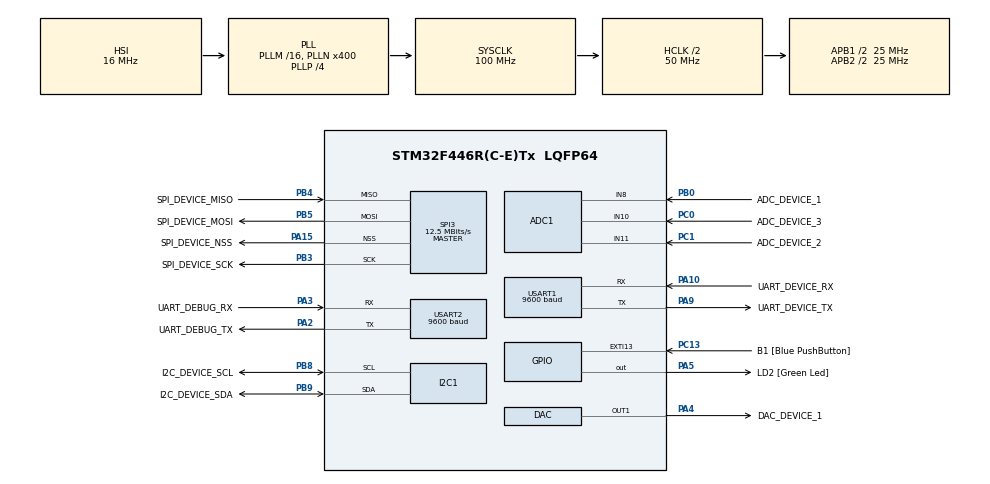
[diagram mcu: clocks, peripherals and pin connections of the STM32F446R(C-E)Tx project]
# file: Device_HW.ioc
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ADC1.Channel-0\#ChannelRegularConversion=ADC_CHANNEL_8
ADC1.NbrOfConversionFlag=1
ADC1.Rank-0\#ChannelRegularConversion=1
ADC1.SamplingTime-0\#ChannelRegularConversion=ADC_SAMPLETIME_3CYCLES
ADC1.master=1
DAC.DAC_Trigger=DAC_TRIGGER_T2_TRGO
DAC.WaveGeneration=DISABLE
Dma.ADC1.0.Direction=DMA_PERIPH_TO_MEMORY
Dma.ADC1.0.FIFOMode=DMA_FIFOMODE_ENABLE
Dma.ADC1.0.FIFOThreshold=DMA_FIFO_THRESHOLD_FULL
Dma.ADC1.0.Instance=DMA2_Stream0
Dma.ADC1.0.MemBurst=DMA_MBURST_SINGLE
Dma.ADC1.0.MemDataAlignment=DMA_MDATAALIGN_WORD
Dma.ADC1.0.MemInc=DMA_MINC_ENABLE
Dma.ADC1.0.Mode=DMA_CIRCULAR
Dma.ADC1.0.PeriphBurst=DMA_PBURST_SINGLE
Dma.ADC1.0.PeriphDataAlignment=DMA_PDATAALIGN_WORD
Dma.ADC1.0.PeriphInc=DMA_PINC_DISABLE
Dma.ADC1.0.Priority=DMA_PRIORITY_MEDIUM
Dma.MEMTOMEM.7.Direction=DMA_MEMORY_TO_MEMORY
Dma.MEMTOMEM.7.FIFOMode=DMA_FIFOMODE_ENABLE
Dma.MEMTOMEM.7.FIFOThreshold=DMA_FIFO_THRESHOLD_FULL
Dma.MEMTOMEM.7.Instance=DMA2_Stream1
Dma.MEMTOMEM.7.MemBurst=DMA_MBURST_SINGLE
Dma.MEMTOMEM.7.MemDataAlignment=DMA_MDATAALIGN_WORD
Dma.MEMTOMEM.7.MemInc=DMA_MINC_ENABLE
Dma.MEMTOMEM.7.Mode=DMA_NORMAL
Dma.MEMTOMEM.7.PeriphBurst=DMA_PBURST_SINGLE
Dma.MEMTOMEM.7.PeriphDataAlignment=DMA_PDATAALIGN_WORD
Dma.MEMTOMEM.7.PeriphInc=DMA_PINC_ENABLE
Dma.MEMTOMEM.7.Priority=DMA_PRIORITY_LOW
Dma.MEMTOMEM.8.Direction=DMA_MEMORY_TO_MEMORY
Dma.MEMTOMEM.8.FIFOMode=DMA_FIFOMODE_ENABLE
Dma.MEMTOMEM.8.FIFOThreshold=DMA_FIFO_THRESHOLD_FULL
Dma.MEMTOMEM.8.Instance=DMA2_Stream2
Dma.MEMTOMEM.8.MemBurst=DMA_MBURST_SINGLE
Dma.MEMTOMEM.8.MemDataAlignment=DMA_MDATAALIGN_WORD
Dma.MEMTOMEM.8.MemInc=DMA_MINC_ENABLE
Dma.MEMTOMEM.8.Mode=DMA_NORMAL
Dma.MEMTOMEM.8.PeriphBurst=DMA_PBURST_SINGLE
Dma.MEMTOMEM.8.PeriphDataAlignment=DMA_PDATAALIGN_WORD
Dma.MEMTOMEM.8.PeriphInc=DMA_PINC_ENABLE
Dma.MEMTOMEM.8.Priority=DMA_PRIORITY_LOW
Dma.MEMTOMEM.9.Direction=DMA_MEMORY_TO_MEMORY
Dma.MEMTOMEM.9.FIFOMode=DMA_FIFOMODE_ENABLE
Dma.MEMTOMEM.9.FIFOThreshold=DMA_FIFO_THRESHOLD_FULL
Dma.MEMTOMEM.9.Instance=DMA2_Stream3
Dma.MEMTOMEM.9.MemBurst=DMA_MBURST_SINGLE
Dma.MEMTOMEM.9.MemDataAlignment=DMA_MDATAALIGN_WORD
Dma.MEMTOMEM.9.MemInc=DMA_MINC_ENABLE
Dma.MEMTOMEM.9.Mode=DMA_NORMAL
Dma.MEMTOMEM.9.PeriphBurst=DMA_PBURST_SINGLE
Dma.MEMTOMEM.9.PeriphDataAlignment=DMA_PDATAALIGN_WORD
Dma.MEMTOMEM.9.PeriphInc=DMA_PINC_ENABLE
Dma.MEMTOMEM.9.Priority=DMA_PRIORITY_LOW
Dma.Request0=ADC1
Dma.Request1=SPI3_RX
Dma.Request2=SPI3_TX
Dma.Request3=USART1_RX
Dma.Request4=USART1_TX
Dma.Request5=USART2_RX
Dma.Request6=USART2_TX
Dma.Request7=MEMTOMEM
Dma.Request8=MEMTOMEM
Dma.Request9=MEMTOMEM
Dma.SPI3_RX.1.Direction=DMA_PERIPH_TO_MEMORY
Dma.SPI3_RX.1.FIFOMode=DMA_FIFOMODE_DISABLE
Dma.SPI3_RX.1.Instance=DMA1_Stream2
Dma.SPI3_RX.1.MemDataAlignment=DMA_MDATAALIGN_BYTE
Dma.SPI3_RX.1.MemInc=DMA_MINC_ENABLE
Dma.SPI3_RX.1.Mode=DMA_NORMAL
Dma.SPI3_RX.1.PeriphDataAlignment=DMA_PDATAALIGN_BYTE
Dma.SPI3_RX.1.PeriphInc=DMA_PINC_DISABLE
Dma.SPI3_RX.1.Priority=DMA_PRIORITY_MEDIUM
Dma.SPI3_TX.2.Direction=DMA_MEMORY_TO_PERIPH
Dma.SPI3_TX.2.FIFOMode=DMA_FIFOMODE_DISABLE
Dma.SPI3_TX.2.Instance=DMA1_Stream7
Dma.SPI3_TX.2.MemDataAlignment=DMA_MDATAALIGN_BYTE
Dma.SPI3_TX.2.MemInc=DMA_MINC_ENABLE
Dma.SPI3_TX.2.Mode=DMA_NORMAL
Dma.SPI3_TX.2.PeriphDataAlignment=DMA_PDATAALIGN_BYTE
Dma.SPI3_TX.2.PeriphInc=DMA_PINC_DISABLE
Dma.SPI3_TX.2.Priority=DMA_PRIORITY_MEDIUM
Dma.USART1_RX.3.Direction=DMA_PERIPH_TO_MEMORY
Dma.USART1_RX.3.FIFOMode=DMA_FIFOMODE_DISABLE
Dma.USART1_RX.3.Instance=DMA2_Stream5
Dma.USART1_RX.3.MemDataAlignment=DMA_MDATAALIGN_BYTE
Dma.USART1_RX.3.MemInc=DMA_MINC_ENABLE
Dma.USART1_RX.3.Mode=DMA_NORMAL
Dma.USART1_RX.3.PeriphDataAlignment=DMA_PDATAALIGN_BYTE
Dma.USART1_RX.3.PeriphInc=DMA_PINC_DISABLE
Dma.USART1_RX.3.Priority=DMA_PRIORITY_MEDIUM
Dma.USART1_TX.4.Direction=DMA_MEMORY_TO_PERIPH
Dma.USART1_TX.4.FIFOMode=DMA_FIFOMODE_DISABLE
Dma.USART1_TX.4.Instance=DMA2_Stream7
Dma.USART1_TX.4.MemDataAlignment=DMA_MDATAALIGN_BYTE
Dma.USART1_TX.4.MemInc=DMA_MINC_ENABLE
Dma.USART1_TX.4.Mode=DMA_NORMAL
Dma.USART1_TX.4.PeriphDataAlignment=DMA_PDATAALIGN_BYTE
Dma.USART1_TX.4.PeriphInc=DMA_PINC_DISABLE
Dma.USART1_TX.4.Priority=DMA_PRIORITY_MEDIUM
Dma.USART2_RX.5.Direction=DMA_PERIPH_TO_MEMORY
Dma.USART2_RX.5.FIFOMode=DMA_FIFOMODE_DISABLE
Dma.USART2_RX.5.Instance=DMA1_Stream5
Dma.USART2_RX.5.MemDataAlignment=DMA_MDATAALIGN_BYTE
Dma.USART2_RX.5.MemInc=DMA_MINC_ENABLE
Dma.USART2_RX.5.Mode=DMA_NORMAL
Dma.USART2_RX.5.PeriphDataAlignment=DMA_PDATAALIGN_BYTE
Dma.USART2_RX.5.PeriphInc=DMA_PINC_DISABLE
Dma.USART2_RX.5.Priority=DMA_PRIORITY_MEDIUM
Dma.USART2_TX.6.Direction=DMA_MEMORY_TO_PERIPH
Dma.USART2_TX.6.FIFOMode=DMA_FIFOMODE_DISABLE
Dma.USART2_TX.6.Instance=DMA1_Stream6
Dma.USART2_TX.6.MemDataAlignment=DMA_MDATAALIGN_BYTE
Dma.USART2_TX.6.MemInc=DMA_MINC_ENABLE
Dma.USART2_TX.6.Mode=DMA_NORMAL
Dma.USART2_TX.6.PeriphDataAlignment=DMA_PDATAALIGN_BYTE
Dma.USART2_TX.6.PeriphInc=DMA_PINC_DISABLE
Dma.USART2_TX.6.Priority=DMA_PRIORITY_MEDIUM
FREERTOS.BinarySemaphores01=varSemaphoreB,Static,varSemaphoreBControlBlock;varSemaphoreB1,Static,varSemaphoreB1ControlBlock;varSemaphoreB2,Static,varSemaphoreB2ControlBlock;varSemaphoreB3,Static,varSemaphoreB3ControlBlock;varSemaphoreB4,Static,varSemaphoreB4ControlBlock
FREERTOS.CountingSemaphores01=varSemaphoreC,2,Static,varSemaphoreCControlBlock;varSemaphoreC1,2,Static,varSemaphoreC1ControlBlock;varSemaphoreC2,2,Static,varSemaphoreC2ControlBlock;varSemaphoreC3,2,Static,varSemaphoreC3ControlBlock;varSemaphoreC4,2,Static,varSemaphoreC4ControlBlock
FREERTOS.INCLUDE_xTaskAbortDelay=1
FREERTOS.Mutexes01=varMutex,Static,varMutexControlBlock;varMutex1,Static,varMutex1ControlBlock;varMutex2,Static,varMutex2ControlBlock;varMutex4,Static,varMutex4ControlBlock
FREERTOS.Tasks01=osTask,24,128,osTaskEntry,Default,NULL,Static,osTaskBuffer,osTaskControlBlock;deviceTask,24,128,deviceTaskEntry,Default,NULL,Static,deviceTaskBuffer,deviceTaskControlBlock;debugTask,8,128,debugTaskEntry,Default,NULL,Static,debugTaskBuffer,debugTaskControlBlock
FREERTOS.Timers01=varTimer,varTimerCallback,osTimerPeriodic,Default,NULL,Static,varTimerControlBlock;varTimer1,varTimer2Callback,osTimerPeriodic,Default,NULL,Static,varTimer1ControlBlock
FREERTOS.configGENERATE_RUN_TIME_STATS=1
FREERTOS.configUSE_NEWLIB_REENTRANT=1
FREERTOS.configUSE_STATS_FORMATTING_FUNCTIONS=1
Mcu.Family=STM32F4
Mcu.Name=STM32F446R(C-E)Tx
Mcu.Package=LQFP64
Mcu.UserConstants=UART_DEVICE,1;UART_DEBUG,2
NVIC.ADC_IRQn=true\:5\:0\:false\:false\:true\:true\:true\:true
NVIC.DMA1_Stream2_IRQn=true\:5\:0\:false\:false\:true\:true\:false\:true
NVIC.DMA1_Stream5_IRQn=true\:5\:0\:false\:false\:true\:true\:false\:true
NVIC.DMA1_Stream6_IRQn=true\:5\:0\:false\:false\:true\:true\:false\:true
NVIC.DMA1_Stream7_IRQn=true\:5\:0\:false\:false\:true\:true\:false\:true
NVIC.DMA2_Stream0_IRQn=true\:5\:0\:false\:false\:true\:true\:false\:true
NVIC.DMA2_Stream5_IRQn=true\:5\:0\:false\:false\:true\:false\:false\:true
NVIC.DMA2_Stream7_IRQn=true\:5\:0\:false\:false\:true\:true\:false\:true
NVIC.EXTI15_10_IRQn=true\:5\:0\:false\:false\:true\:true\:true\:true
NVIC.I2C1_ER_IRQn=true\:5\:0\:false\:false\:true\:true\:true\:true
NVIC.I2C1_EV_IRQn=true\:5\:0\:false\:false\:true\:true\:true\:true
NVIC.PriorityGroup=NVIC_PRIORITYGROUP_4
NVIC.SPI3_IRQn=true\:5\:0\:false\:false\:true\:true\:true\:true
NVIC.TIM1_UP_TIM10_IRQn=true\:5\:0\:false\:false\:true\:true\:true\:true
NVIC.TIM2_IRQn=true\:15\:0\:false\:false\:true\:false\:true\:true
NVIC.TIM6_DAC_IRQn=true\:5\:0\:false\:false\:true\:true\:true\:true
NVIC.TimeBase=TIM2_IRQn
NVIC.TimeBaseIP=TIM2
NVIC.USART1_IRQn=true\:5\:0\:false\:false\:true\:true\:true\:true
NVIC.USART2_IRQn=true\:5\:0\:false\:false\:true\:true\:true\:true
PA10.GPIO_Label=UART_DEVICE_RX
PA10.Mode=Asynchronous
PA10.Signal=USART1_RX
PA13.GPIO_Label=TMS
PA13.Mode=Serial_Wire
PA13.Signal=SYS_JTMS-SWDIO
PA14.GPIO_Label=TCK
PA14.Mode=Serial_Wire
PA14.Signal=SYS_JTCK-SWCLK
PA15.GPIO_Label=SPI_DEVICE_NSS
PA15.Mode=NSS_Signal_Hard_Output
PA15.Signal=SPI3_NSS
PA2.GPIO_Label=UART_DEBUG_TX
PA2.Mode=Asynchronous
PA2.Signal=USART2_TX
PA3.GPIO_Label=UART_DEBUG_RX
PA3.Mode=Asynchronous
PA3.Signal=USART2_RX
PA4.GPIO_Label=DAC_DEVICE_1
PA4.Signal=COMP_DAC1_group
PA5.GPIO_Label=LD2 [Green Led]
PA5.Signal=GPIO_Output
PA9.GPIO_Label=UART_DEVICE_TX
PA9.Mode=Asynchronous
PA9.Signal=USART1_TX
PB0.GPIO_Label=ADC_DEVICE_1
PB0.Signal=ADCx_IN8
PB3.GPIO_Label=SPI_DEVICE_SCK
PB3.Mode=Full_Duplex_Master
PB3.Signal=SPI3_SCK
PB4.GPIO_Label=SPI_DEVICE_MISO
PB4.Mode=Full_Duplex_Master
PB4.Signal=SPI3_MISO
PB5.GPIO_Label=SPI_DEVICE_MOSI
PB5.Mode=Full_Duplex_Master
PB5.Signal=SPI3_MOSI
PB8.GPIO_Label=I2C_DEVICE_SCL
PB8.Mode=I2C
PB8.Signal=I2C1_SCL
PB9.GPIO_Label=I2C_DEVICE_SDA
PB9.Mode=I2C
PB9.Signal=I2C1_SDA
PC0.GPIO_Label=ADC_DEVICE_3
PC0.Signal=ADCx_IN10
PC1.GPIO_Label=ADC_DEVICE_2
PC1.Signal=ADCx_IN11
PC13.GPIO_Label=B1 [Blue PushButton]
PC13.GPIO_ModeDefaultEXTI=GPIO_MODE_IT_FALLING
PC13.Signal=GPXTI13
PC14-OSC32_IN.Mode=LSE-External-Oscillator
PC14-OSC32_IN.Signal=RCC_OSC32_IN
PC15-OSC32_OUT.Mode=LSE-External-Oscillator
PC15-OSC32_OUT.Signal=RCC_OSC32_OUT
PH0-OSC_IN.Mode=HSE-External-Oscillator
PH0-OSC_IN.Signal=RCC_OSC_IN
PH1-OSC_OUT.Mode=HSE-External-Oscillator
PH1-OSC_OUT.Signal=RCC_OSC_OUT
ProjectManager.HeapSize=0x200
ProjectManager.StackSize=0x400
ProjectManager.TargetToolchain=STM32CubeIDE
RCC.48MHZClocksFreq_Value=84000000
RCC.AHBCLKDivider=RCC_SYSCLK_DIV2
RCC.AHBFreq_Value=50000000
RCC.APB1CLKDivider=RCC_HCLK_DIV2
RCC.APB1Freq_Value=25000000
RCC.APB1TimFreq_Value=50000000
RCC.APB2CLKDivider=RCC_HCLK_DIV2
RCC.APB2Freq_Value=25000000
RCC.APB2TimFreq_Value=50000000
RCC.CortexFreq_Value=50000000
RCC.FLatency-AdvancedSettings=FLASH_LATENCY_1
RCC.HCLKFreq_Value=50000000
RCC.HSE_VALUE=8000000
RCC.HSI_VALUE=16000000
RCC.PLLN=400
RCC.PLLP=RCC_PLLP_DIV4
RCC.SYSCLKFreq_VALUE=100000000
RCC.SYSCLKSource=RCC_SYSCLKSOURCE_PLLCLK
RCC.USBFreq_Value=200000000
RCC.VCOOutputFreq_Value=400000000
SH.ADCx_IN10.0=ADC1_IN10,IN10
SH.ADCx_IN11.0=ADC1_IN11,IN11
SH.ADCx_IN8.0=ADC1_IN8,IN8
SH.COMP_DAC1_group.0=DAC_OUT1,DAC_OUT1
SPI3.BaudRatePrescaler=SPI_BAUDRATEPRESCALER_2
SPI3.CalculateBaudRate=12.5 MBits/s
SPI3.Direction=SPI_DIRECTION_2LINES
SPI3.Mode=SPI_MODE_MASTER
SPI3.VirtualNSS=VM_NSSHARD
SPI3.VirtualType=VM_MASTER
TIM1.AutoReloadPreload=TIM_AUTORELOAD_PRELOAD_ENABLE
TIM1.Period=24
TIM1.Prescaler=3
TIM6.AutoReloadPreload=TIM_AUTORELOAD_PRELOAD_ENABLE
TIM6.Period=19
TIM6.Prescaler=4999
USART1.BaudRate=9600
USART1.OverSampling=UART_OVERSAMPLING_8
USART1.VirtualMode=VM_ASYNC
USART2.BaudRate=9600
USART2.OverSampling=UART_OVERSAMPLING_8
USART2.VirtualMode=VM_ASYNC
VP_CRC_VS_CRC.Mode=CRC_Activate
VP_FREERTOS_VS_CMSIS_V2.Mode=CMSIS_V2
VP_SYS_VS_tim2.Mode=TIM2
VP_TIM1_VS_ClockSourceINT.Mode=Internal
VP_TIM1_VS_ClockSourceITR.Mode=TriggerSource_ITR0
VP_TIM1_VS_ControllerModeReset.Mode=Reset Mode
VP_TIM6_VS_ClockSourceINT.Mode=Enable_Timer
board=NUCLEO-F446RE

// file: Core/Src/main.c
/* USER CODE BEGIN Header */
/**
  ******************************************************************************
  * @file           : main.c
  * @brief          : Main program body
  ******************************************************************************
  * @attention
  *
  * <h2><center>&copy; Copyright (c) 2022 STMicroelectronics.
  * All rights reserved.</center></h2>
  *
  * This software component is licensed by ST under Ultimate Liberty license
  * SLA0044, the "License"; You may not use this file except in compliance with
  * the License. You may obtain a copy of the License at:
  *                             www.st.com/SLA0044
  *
  ******************************************************************************
  */
/* USER CODE END Header */
#include "main.h"
#include "cmsis_os.h"
#include "adc.h"
#include "crc.h"
#include "dac.h"
#include "dma.h"
#include "i2c.h"
#include "spi.h"
#include "tim.h"
#include "usart.h"
#include "gpio.h"

void SystemClock_Config(void);
void MX_FREERTOS_Init(void);

int main(void)
{

  /* MCU Configuration--------------------------------------------------------*/

  /* Reset of all peripherals, Initializes the Flash interface and the Systick. */
  HAL_Init();

  /* Configure the system clock */
  SystemClock_Config();

  /* Initialize all configured peripherals */
  MX_DMA_Init();
  MX_GPIO_Init();
  MX_I2C1_Init();
  MX_SPI3_Init();
  MX_TIM1_Init();
  MX_USART1_UART_Init();

  MX_ADC1_Init();
  MX_DAC_Init();
  MX_TIM6_Init();
  MX_USART2_UART_Init();
  MX_CRC_Init();

  /* Init scheduler */
  osKernelInitialize();  /* Call init function for freertos objects (in freertos.c) */
  MX_FREERTOS_Init();
  /* Start scheduler */
  osKernelStart();

  /* We should never get here as control is now taken by the scheduler */
  /* Infinite loop */
  while (1)
  {

  }
}

void SystemClock_Config(void)
{
  RCC_OscInitTypeDef RCC_OscInitStruct = {0};
  RCC_ClkInitTypeDef RCC_ClkInitStruct = {0};

  /** Configure the main internal regulator output voltage
  */
  __HAL_RCC_PWR_CLK_ENABLE();
  __HAL_PWR_VOLTAGESCALING_CONFIG(PWR_REGULATOR_VOLTAGE_SCALE3);
  /** Initializes the RCC Oscillators according to the specified parameters
  * in the RCC_OscInitTypeDef structure.
  */
  RCC_OscInitStruct.OscillatorType = RCC_OSCILLATORTYPE_HSI;
  RCC_OscInitStruct.HSIState = RCC_HSI_ON;
  RCC_OscInitStruct.HSICalibrationValue = RCC_HSICALIBRATION_DEFAULT;
  RCC_OscInitStruct.PLL.PLLState = RCC_PLL_ON;
  RCC_OscInitStruct.PLL.PLLSource = RCC_PLLSOURCE_HSI;
  RCC_OscInitStruct.PLL.PLLM = 16;
  RCC_OscInitStruct.PLL.PLLN = 400;
  RCC_OscInitStruct.PLL.PLLP = RCC_PLLP_DIV4;
  RCC_OscInitStruct.PLL.PLLQ = 2;
  RCC_OscInitStruct.PLL.PLLR = 2;
  if (HAL_RCC_OscConfig(&RCC_OscInitStruct) != HAL_OK)
  {
    Error_Handler();
  }
  /** Initializes the CPU, AHB and APB buses clocks
  */
  RCC_ClkInitStruct.ClockType = RCC_CLOCKTYPE_HCLK|RCC_CLOCKTYPE_SYSCLK
                              |RCC_CLOCKTYPE_PCLK1|RCC_CLOCKTYPE_PCLK2;
  RCC_ClkInitStruct.SYSCLKSource = RCC_SYSCLKSOURCE_PLLCLK;
  RCC_ClkInitStruct.AHBCLKDivider = RCC_SYSCLK_DIV2;
  RCC_ClkInitStruct.APB1CLKDivider = RCC_HCLK_DIV2;
  RCC_ClkInitStruct.APB2CLKDivider = RCC_HCLK_DIV2;

  if (HAL_RCC_ClockConfig(&RCC_ClkInitStruct, FLASH_LATENCY_1) != HAL_OK)
  {
    Error_Handler();
  }
}

void HAL_TIM_PeriodElapsedCallback(TIM_HandleTypeDef *htim)
{
  if (htim->Instance == TIM2) {
    HAL_IncTick();
  }
}

void Error_Handler(void)
{
  __disable_irq();
  while (1)
  {
  }
}

/************************ (C) COPYRIGHT STMicroelectronics *****END OF FILE****/

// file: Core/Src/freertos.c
/* USER CODE BEGIN Header */
/**
 ******************************************************************************
 * File Name          : freertos.c
 * Description        : Code for freertos applications
 ******************************************************************************
 * @attention
 *
 * <h2><center>&copy; Copyright (c) 2022 STMicroelectronics.
 * All rights reserved.</center></h2>
 *
 * This software component is licensed by ST under Ultimate Liberty license
 * SLA0044, the "License"; You may not use this file except in compliance with
 * the License. You may obtain a copy of the License at:
 *                             www.st.com/SLA0044
 *
 ******************************************************************************
 */
/* USER CODE END Header */

#include "main.h"
/* USER CODE BEGIN Includes */
#include "Configuration.h"
/* USER CODE END Includes */

typedef StaticTask_t      osStaticThreadDef_t;
typedef StaticTimer_t     osStaticTimerDef_t;
typedef StaticSemaphore_t osStaticMutexDef_t;
typedef StaticSemaphore_t osStaticSemaphoreDef_t;
/* USER CODE BEGIN PTD */
DEV_PERIPHERAL_TYPEDEFS(EXTERNAL);
/* USER CODE END PTD */

/* USER CODE BEGIN Variables */
/** debug messages **/
uint8_t DBG_initCompleteMessage[] = "Device is running...\n\r";
uint8_t DBG_clearScreenMessage[]  = { '\r', 0x1B, 0x5B, 0x32, 0x4A };

DEV_DECLARE_ARRAYS(LOCAL);

/* USER CODE END Variables */
/* Definitions for osTask */
osThreadId_t         osTaskHandle;
uint32_t             osTaskBuffer[128];
osStaticThreadDef_t  osTaskControlBlock;
const osThreadAttr_t osTask_attributes = {
  .name       = "osTask",
  .cb_mem     = &osTaskControlBlock,
  .cb_size    = sizeof(osTaskControlBlock),
  .stack_mem  = &osTaskBuffer[0],
  .stack_size = sizeof(osTaskBuffer),
  .priority   = (osPriority_t) osPriorityNormal,
};
/* Definitions for deviceTask */
osThreadId_t         deviceTaskHandle;
uint32_t             deviceTaskBuffer[128];
osStaticThreadDef_t  deviceTaskControlBlock;
const osThreadAttr_t deviceTask_attributes = {
  .name       = "deviceTask",
  .cb_mem     = &deviceTaskControlBlock,
  .cb_size    = sizeof(deviceTaskControlBlock),
  .stack_mem  = &deviceTaskBuffer[0],
  .stack_size = sizeof(deviceTaskBuffer),
  .priority   = (osPriority_t) osPriorityNormal,
};
/* Definitions for debugTask */
osThreadId_t         debugTaskHandle;
uint32_t             debugTaskBuffer[128];
osStaticThreadDef_t  debugTaskControlBlock;
const osThreadAttr_t debugTask_attributes = {
  .name       = "debugTask",
  .cb_mem     = &debugTaskControlBlock,
  .cb_size    = sizeof(debugTaskControlBlock),
  .stack_mem  = &debugTaskBuffer[0],
  .stack_size = sizeof(debugTaskBuffer),
  .priority   = (osPriority_t) osPriorityLow,
};
/* Definitions for varTimer */
osTimerId_t         varTimerHandle;
osStaticTimerDef_t  varTimerControlBlock;
const osTimerAttr_t varTimer_attributes = {
  .name    = "varTimer",
  .cb_mem  = &varTimerControlBlock,
  .cb_size = sizeof(varTimerControlBlock),
};
/* Definitions for varTimer1 */
osTimerId_t         varTimer1Handle;
osStaticTimerDef_t  varTimer1ControlBlock;
const osTimerAttr_t varTimer1_attributes = {
  .name    = "varTimer1",
  .cb_mem  = &varTimer1ControlBlock,
  .cb_size = sizeof(varTimer1ControlBlock),
};
/* Definitions for varMutex */
osMutexId_t         varMutexHandle;
osStaticMutexDef_t  varMutexControlBlock;
const osMutexAttr_t varMutex_attributes = {
  .name    = "varMutex",
  .cb_mem  = &varMutexControlBlock,
  .cb_size = sizeof(varMutexControlBlock),
};
/* Definitions for varMutex1 */
osMutexId_t         varMutex1Handle;
osStaticMutexDef_t  varMutex1ControlBlock;
const osMutexAttr_t varMutex1_attributes = {
  .name    = "varMutex1",
  .cb_mem  = &varMutex1ControlBlock,
  .cb_size = sizeof(varMutex1ControlBlock),
};
/* Definitions for varMutex2 */
osMutexId_t         varMutex2Handle;
osStaticMutexDef_t  varMutex2ControlBlock;
const osMutexAttr_t varMutex2_attributes = {
  .name    = "varMutex2",
  .cb_mem  = &varMutex2ControlBlock,
  .cb_size = sizeof(varMutex2ControlBlock),
};
/* Definitions for varMutex4 */
osMutexId_t         varMutex4Handle;
osStaticMutexDef_t  varMutex4ControlBlock;
const osMutexAttr_t varMutex4_attributes = {
  .name    = "varMutex4",
  .cb_mem  = &varMutex4ControlBlock,
  .cb_size = sizeof(varMutex4ControlBlock),
};
/* Definitions for varSemaphoreB */
osSemaphoreId_t         varSemaphoreBHandle;
osStaticSemaphoreDef_t  varSemaphoreBControlBlock;
const osSemaphoreAttr_t varSemaphoreB_attributes = {
  .name    = "varSemaphoreB",
  .cb_mem  = &varSemaphoreBControlBlock,
  .cb_size = sizeof(varSemaphoreBControlBlock),
};
/* Definitions for varSemaphoreB1 */
osSemaphoreId_t         varSemaphoreB1Handle;
osStaticSemaphoreDef_t  varSemaphoreB1ControlBlock;
const osSemaphoreAttr_t varSemaphoreB1_attributes = {
  .name    = "varSemaphoreB1",
  .cb_mem  = &varSemaphoreB1ControlBlock,
  .cb_size = sizeof(varSemaphoreB1ControlBlock),
};
/* Definitions for varSemaphoreB2 */
osSemaphoreId_t         varSemaphoreB2Handle;
osStaticSemaphoreDef_t  varSemaphoreB2ControlBlock;
const osSemaphoreAttr_t varSemaphoreB2_attributes = {
  .name    = "varSemaphoreB2",
  .cb_mem  = &varSemaphoreB2ControlBlock,
  .cb_size = sizeof(varSemaphoreB2ControlBlock),
};
/* Definitions for varSemaphoreB3 */
osSemaphoreId_t         varSemaphoreB3Handle;
osStaticSemaphoreDef_t  varSemaphoreB3ControlBlock;
const osSemaphoreAttr_t varSemaphoreB3_attributes = {
  .name    = "varSemaphoreB3",
  .cb_mem  = &varSemaphoreB3ControlBlock,
  .cb_size = sizeof(varSemaphoreB3ControlBlock),
};
/* Definitions for varSemaphoreB4 */
osSemaphoreId_t         varSemaphoreB4Handle;
osStaticSemaphoreDef_t  varSemaphoreB4ControlBlock;
const osSemaphoreAttr_t varSemaphoreB4_attributes = {
  .name    = "varSemaphoreB4",
  .cb_mem  = &varSemaphoreB4ControlBlock,
  .cb_size = sizeof(varSemaphoreB4ControlBlock),
};
/* Definitions for varSemaphoreC */
osSemaphoreId_t         varSemaphoreCHandle;
osStaticSemaphoreDef_t  varSemaphoreCControlBlock;
const osSemaphoreAttr_t varSemaphoreC_attributes = {
  .name    = "varSemaphoreC",
  .cb_mem  = &varSemaphoreCControlBlock,
  .cb_size = sizeof(varSemaphoreCControlBlock),
};
/* Definitions for varSemaphoreC1 */
osSemaphoreId_t         varSemaphoreC1Handle;
osStaticSemaphoreDef_t  varSemaphoreC1ControlBlock;
const osSemaphoreAttr_t varSemaphoreC1_attributes = {
  .name    = "varSemaphoreC1",
  .cb_mem  = &varSemaphoreC1ControlBlock,
  .cb_size = sizeof(varSemaphoreC1ControlBlock),
};
/* Definitions for varSemaphoreC2 */
osSemaphoreId_t         varSemaphoreC2Handle;
osStaticSemaphoreDef_t  varSemaphoreC2ControlBlock;
const osSemaphoreAttr_t varSemaphoreC2_attributes = {
  .name    = "varSemaphoreC2",
  .cb_mem  = &varSemaphoreC2ControlBlock,
  .cb_size = sizeof(varSemaphoreC2ControlBlock),
};
/* Definitions for varSemaphoreC3 */
osSemaphoreId_t         varSemaphoreC3Handle;
osStaticSemaphoreDef_t  varSemaphoreC3ControlBlock;
const osSemaphoreAttr_t varSemaphoreC3_attributes = {
  .name    = "varSemaphoreC3",
  .cb_mem  = &varSemaphoreC3ControlBlock,
  .cb_size = sizeof(varSemaphoreC3ControlBlock),
};
/* Definitions for varSemaphoreC4 */
osSemaphoreId_t         varSemaphoreC4Handle;
osStaticSemaphoreDef_t  varSemaphoreC4ControlBlock;
const osSemaphoreAttr_t varSemaphoreC4_attributes = {
  .name    = "varSemaphoreC4",
  .cb_mem  = &varSemaphoreC4ControlBlock,
  .cb_size = sizeof(varSemaphoreC4ControlBlock),
};

void osTaskEntry(void *argument);
void deviceTaskEntry(void *argument);
void debugTaskEntry(void *argument);
void varTimerCallback(void *argument);
void varTimer2Callback(void *argument);

void MX_FREERTOS_Init(void); /* (MISRA C 2004 rule 8.1) */

/* Hook prototypes */
void          configureTimerForRunTimeStats(void);
unsigned long getRunTimeCounterValue(void);

/* USER CODE BEGIN 1 */
/* Functions needed when configGENERATE_RUN_TIME_STATS is on */
__weak void configureTimerForRunTimeStats(void)
{
}

__weak unsigned long getRunTimeCounterValue(void)
{
  return 0;
}
/* USER CODE END 1 */

void MX_FREERTOS_Init(void)
{
  /* Create the mutex(es) */
  /* creation of varMutex */
  varMutexHandle = osMutexNew(&varMutex_attributes);

  /* creation of varMutex1 */
  varMutex1Handle = osMutexNew(&varMutex1_attributes);

  /* creation of varMutex2 */
  varMutex2Handle = osMutexNew(&varMutex2_attributes);

  /* creation of varMutex4 */
  varMutex4Handle = osMutexNew(&varMutex4_attributes);

  /* Create the semaphores(s) */
  /* creation of varSemaphoreB */
  varSemaphoreBHandle = osSemaphoreNew(1, 1, &varSemaphoreB_attributes);

  /* creation of varSemaphoreB1 */
  varSemaphoreB1Handle = osSemaphoreNew(1, 1, &varSemaphoreB1_attributes);

  /* creation of varSemaphoreB2 */
  varSemaphoreB2Handle = osSemaphoreNew(1, 1, &varSemaphoreB2_attributes);

  /* creation of varSemaphoreB3 */
  varSemaphoreB3Handle = osSemaphoreNew(1, 1, &varSemaphoreB3_attributes);

  /* creation of varSemaphoreB4 */
  varSemaphoreB4Handle = osSemaphoreNew(1, 1, &varSemaphoreB4_attributes);

  /* creation of varSemaphoreC */
  varSemaphoreCHandle = osSemaphoreNew(2, 2, &varSemaphoreC_attributes);

  /* creation of varSemaphoreC1 */
  varSemaphoreC1Handle = osSemaphoreNew(2, 2, &varSemaphoreC1_attributes);

  /* creation of varSemaphoreC2 */
  varSemaphoreC2Handle = osSemaphoreNew(2, 2, &varSemaphoreC2_attributes);

  /* creation of varSemaphoreC3 */
  varSemaphoreC3Handle = osSemaphoreNew(2, 2, &varSemaphoreC3_attributes);

  /* creation of varSemaphoreC4 */
  varSemaphoreC4Handle = osSemaphoreNew(2, 2, &varSemaphoreC4_attributes);

  /* Create the timer(s) */
  /* creation of varTimer */
  varTimerHandle = osTimerNew(varTimerCallback, osTimerPeriodic, NULL, &varTimer_attributes);

  /* creation of varTimer1 */
  varTimer1Handle = osTimerNew(varTimer2Callback, osTimerPeriodic, NULL, &varTimer1_attributes);

  /* Create the thread(s) */
  /* creation of osTask */
  osTaskHandle = osThreadNew(osTaskEntry, NULL, &osTask_attributes);

  /* creation of deviceTask */
  deviceTaskHandle = osThreadNew(deviceTaskEntry, NULL, &deviceTask_attributes);

  /* creation of debugTask */
  debugTaskHandle = osThreadNew(debugTaskEntry, NULL, &debugTask_attributes);

}

void osTaskEntry(void *argument)
{
  for (;;)
  {
    osDelay(1);
  }
}

void deviceTaskEntry(void *argument)
{
  /* USER CODE BEGIN deviceTaskEntry */
  uint32_t notificationBits;
  deviceGps.rxId = 0;
  __HAL_DMA_ENABLE_IT(&DEV_HANDLE_GPS_DMA_RX, DMA_IT_TC);
  __HAL_UART_ENABLE_IT(&DEV_HANDLE_GPS, UART_IT_IDLE);
  HAL_UART_Receive_DMA(&DEV_HANDLE_GPS, deviceGps.rxArray[deviceGps.rxId], DEV_DEFINE_BUFFER_SIZE);
  deviceDebug.rxId = 0;
  __HAL_DMA_ENABLE_IT(&DEV_HANDLE_DEBUG_DMA_RX, DMA_IT_TC);
  __HAL_UART_ENABLE_IT(&DEV_HANDLE_DEBUG, UART_IT_IDLE);
  HAL_UART_Receive_DMA(&DEV_HANDLE_DEBUG, deviceDebug.rxArray[deviceDebug.rxId], DEV_DEFINE_BUFFER_SIZE);
  /* Infinite loop */
  for (;;)
  {
    xTaskNotifyWait(NO_BITS, ALL_BITS, &notificationBits, portMAX_DELAY);
    // Received from GPS transfer to debug.
    if (notificationBits & (1 << 0))
    {
      memcpy(deviceDebug.txArray[deviceDebug.txId], deviceGps.rxArray[deviceGps.rxId], deviceGps.rxCount[deviceGps.rxId]);
      deviceDebug.txCount[deviceDebug.txId] = deviceGps.rxCount[deviceGps.rxId];
      deviceGps.rxId                        = (deviceGps.rxId + 1) % DEV_DEFINE_NO_BUFFERS;
    }
    // Received from debug transfer to GPS.
    if (notificationBits & (1 << 1))
    {
      memcpy(deviceGps.txArray[deviceGps.txId], deviceDebug.rxArray[deviceDebug.rxId], deviceDebug.rxCount[deviceDebug.rxId]);
      deviceGps.txCount[deviceGps.txId] = deviceDebug.rxCount[deviceDebug.rxId];
      deviceDebug.rxId                  = (deviceDebug.rxId + 1) % DEV_DEFINE_NO_BUFFERS;
    }
    xTaskNotify(debugTaskHandle, notificationBits, eSetBits);
  }
  /* USER CODE END deviceTaskEntry */
}

void debugTaskEntry(void *argument)
{
  /* USER CODE BEGIN debugTaskEntry */
  uint32_t notificationBits;
  deviceDebug.txId = 0;
  HAL_UART_Transmit(&huart2, DBG_initCompleteMessage, sizeof(DBG_initCompleteMessage), 500);
  /* Infinite loop */
  for (;;)
  {
    xTaskNotifyWait(0x00, UINT32_MAX, &notificationBits, portMAX_DELAY);

    // Received from GPS transfer to debug.
    if (notificationBits & (1 << 0))
    {
      if ((deviceDebug.txCount[deviceDebug.txId] != 0) && (deviceDebug.txArray[deviceDebug.txId][0] != 0))
      {
        HAL_UART_Transmit(&DEV_HANDLE_DEBUG, DBG_clearScreenMessage, sizeof(DBG_clearScreenMessage), 500);
        HAL_UART_Transmit_DMA(&DEV_HANDLE_DEBUG, deviceDebug.txArray[deviceDebug.txId], deviceDebug.txCount[deviceDebug.txId]);
        deviceDebug.txId = (deviceDebug.txId + 1) % DEV_DEFINE_NO_BUFFERS;
      }
    }
    // Received from debug transfer to GPS.
    else if ((notificationBits & (1 << 1)) && (deviceGps.txCount[deviceGps.txId] != 0))
    {
      char DEV_gpsHotRestart[]    = "$PMTK101*32\r\n";
      char DEV_gpsWarmRestart[]    = "$PMTK102*31\r\n";
      char DEV_gpsColdRestart[]    = "$PMTK103*30\r\n";
      char DEV_gpsFullColdRestart[]    = "$PMTK104*37\r\n";
      char DEV_gpsUpdateRate1Hz[]  = "$PMTK220,1000*1F\r\n";
      char DEV_gpsUpdateRate5Hz[]  = "$PMTK220,200*2C\r\n;";
      char DEV_gpsUpdateRate10Hz[] = "$PMTK220,100*2F\r\n";
      char DEV_gpsGGAOnly[]        = "$PMTK314,0,0,0,1,0,0,0,0,0,0,0,0,0,0,0,0,0,0,0*29\r\n";
      char DEV_gpsThresholdLow[]     = "$PMTK386,0.2*3F\r\n";
      char DEV_gpsThresholdHigh[]    = "$PMTK386,2.0*3F\r\n";
      char DEV_gpsEnableWAAS[] = "$PMTK301,2*0A\r\n";
      char DEV_gpsEnableSBAS[] = "$PMTK313,1*2E\r\n";

      if ((deviceGps.txCount[deviceGps.txId] != 0) && (deviceGps.txArray[deviceGps.txId][0] != 0))
      {
        switch (deviceGps.txArray[deviceGps.txId][0])
        {
          case '0':
            HAL_UART_Transmit_DMA(&DEV_HANDLE_GPS, (uint8_t *) DEV_gpsWarmRestart, strlen(DEV_gpsWarmRestart));
          case '1':
            HAL_UART_Transmit_DMA(&DEV_HANDLE_GPS, (uint8_t *) DEV_gpsUpdateRate1Hz, strlen(DEV_gpsUpdateRate1Hz));
          case '2':
            HAL_UART_Transmit_DMA(&DEV_HANDLE_GPS, (uint8_t *) DEV_gpsUpdateRate5Hz, strlen(DEV_gpsUpdateRate5Hz));
          case '3':
            HAL_UART_Transmit_DMA(&DEV_HANDLE_GPS, (uint8_t *) DEV_gpsUpdateRate10Hz, strlen(DEV_gpsUpdateRate10Hz));
          case '4':
            HAL_UART_Transmit_DMA(&DEV_HANDLE_GPS, (uint8_t *) DEV_gpsGGAOnly, strlen(DEV_gpsGGAOnly));
          case '5':
            HAL_UART_Transmit_DMA(&DEV_HANDLE_GPS, (uint8_t *) DEV_gpsThresholdLow, strlen(DEV_gpsThresholdLow));
          case '6':
            HAL_UART_Transmit_DMA(&DEV_HANDLE_GPS, (uint8_t *) DEV_gpsThresholdHigh, strlen(DEV_gpsThresholdHigh));
          case '7':
            HAL_UART_Transmit_DMA(&DEV_HANDLE_GPS, (uint8_t *) DEV_gpsEnableWAAS, strlen(DEV_gpsEnableWAAS));
          case '8':
            HAL_UART_Transmit_DMA(&DEV_HANDLE_GPS, (uint8_t *) DEV_gpsEnableSBAS, strlen(DEV_gpsEnableSBAS));
          default:
            break;
        }

        deviceGps.txId = (deviceGps.txId + 1) % DEV_DEFINE_NO_BUFFERS;
      }
    }
    else
    {
      // Do nothing.
    }
    HAL_GPIO_TogglePin(LD2_GPIO_Port, LD2_Pin);
  }
  /* USER CODE END debugTaskEntry */
}

/* varTimerCallback function */
void varTimerCallback(void *argument)
{
}

/* varTimer2Callback function */
void varTimer2Callback(void *argument)
{
}

/************************ (C) COPYRIGHT STMicroelectronics *****END OF FILE****/
